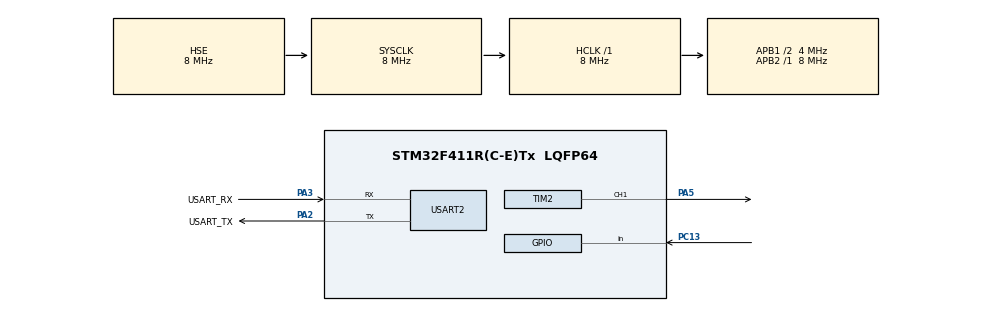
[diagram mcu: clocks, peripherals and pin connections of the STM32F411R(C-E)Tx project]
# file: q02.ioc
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Mcu.Family=STM32F4
Mcu.Name=STM32F411R(C-E)Tx
Mcu.Package=LQFP64
NVIC.PriorityGroup=NVIC_PRIORITYGROUP_0
NVIC.USART2_IRQn=true\:0\:0\:false\:false\:true\:true\:true\:true
PA13.GPIO_Label=TMS
PA13.Mode=Serial_Wire
PA13.Signal=SYS_JTMS-SWDIO
PA14.GPIO_Label=TCK
PA14.Mode=Serial_Wire
PA14.Signal=SYS_JTCK-SWCLK
PA2.GPIO_Label=USART_TX
PA2.Mode=Asynchronous
PA2.Signal=USART2_TX
PA3.GPIO_Label=USART_RX
PA3.Mode=Asynchronous
PA3.Signal=USART2_RX
PA5.Signal=S_TIM2_CH1_ETR
PB3.GPIO_Label=SWO
PB3.Signal=SYS_JTDO-SWO
PC13-ANTI_TAMP.Signal=GPIO_Input
PC14-OSC32_IN.Mode=LSE-External-Oscillator
PC14-OSC32_IN.Signal=RCC_OSC32_IN
PC15-OSC32_OUT.Mode=LSE-External-Oscillator
PC15-OSC32_OUT.Signal=RCC_OSC32_OUT
PH0\ -\ OSC_IN.Mode=HSE-External-Clock-Source
PH0\ -\ OSC_IN.Signal=RCC_OSC_IN
PH1\ -\ OSC_OUT.Mode=HSE-External-Clock-Source
PH1\ -\ OSC_OUT.Signal=RCC_OSC_OUT
ProjectManager.HeapSize=0x200
ProjectManager.StackSize=0x400
ProjectManager.TargetToolchain=STM32CubeIDE
RCC.48MHZClocksFreq_Value=42000000
RCC.AHBFreq_Value=8000000
RCC.APB1CLKDivider=RCC_HCLK_DIV2
RCC.APB1Freq_Value=4000000
RCC.APB1TimFreq_Value=8000000
RCC.APB2Freq_Value=8000000
RCC.APB2TimFreq_Value=8000000
RCC.CortexFreq_Value=8000000
RCC.FLatency-AdvancedSettings=FLASH_LATENCY_0
RCC.HCLKFreq_Value=8000000
RCC.HSE_VALUE=8000000
RCC.HSI_VALUE=16000000
RCC.PLLN=336
RCC.PLLP=RCC_PLLP_DIV4
RCC.PLLSourceVirtual=RCC_PLLSOURCE_HSE
RCC.SYSCLKFreq_VALUE=8000000
RCC.SYSCLKSource=RCC_SYSCLKSOURCE_HSE
RCC.VCOOutputFreq_Value=168000000
SH.S_TIM2_CH1_ETR.0=TIM2_CH1,PWM Generation1 CH1
TIM2.Channel-PWM\ Generation1\ CH1=TIM_CHANNEL_1
TIM2.Period=9
TIM2.Prescaler=7999
USART2.VirtualMode=VM_ASYNC
VP_TIM2_VS_ClockSourceINT.Mode=Internal
board=NUCLEO-F411RE

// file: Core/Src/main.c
/* USER CODE BEGIN Header */
/**
  ******************************************************************************
  * @file           : main.c
  * @brief          : Main program body
  ******************************************************************************
  * @attention
  *
  * Copyright (c) 2024 STMicroelectronics.
  * All rights reserved.
  *
  * This software is licensed under terms that can be found in the LICENSE file
  * in the root directory of this software component.
  * If no LICENSE file comes with this software, it is provided AS-IS.
  *
  ******************************************************************************
  */
/* USER CODE END Header */
#include "main.h"

/* USER CODE BEGIN Includes */
#include <stdbool.h>
#include <stdio.h>
#include <stdlib.h>
#include <string.h>
/* USER CODE END Includes */

TIM_HandleTypeDef htim2;

UART_HandleTypeDef huart2;

void SystemClock_Config(void);
static void MX_GPIO_Init(void);
static void MX_USART2_UART_Init(void);
static void MX_TIM2_Init(void);

/* USER CODE BEGIN 0 */
char buffer[10];

// Serial Feedback
void HAL_UART_RxCpltCallback(UART_HandleTypeDef *huart) {
	if (huart != &huart2) {
		return;
	}

	HAL_UART_Receive_IT(&huart2, buffer, 1);

	HAL_UART_Transmit(&huart2, buffer, 1, 100);
	if (buffer[0] == '\r') {
		HAL_UART_Transmit(&huart2, "\n", 1, 100);
	}
}
/* USER CODE END 0 */

int main(void)
{

  /* MCU Configuration--------------------------------------------------------*/

  /* Reset of all peripherals, Initializes the Flash interface and the Systick. */
  HAL_Init();

  /* Configure the system clock */
  SystemClock_Config();

  /* Initialize all configured peripherals */
  MX_GPIO_Init();
  MX_USART2_UART_Init();
  MX_TIM2_Init();
  /* USER CODE BEGIN 2 */
  HAL_TIM_PWM_Start(&htim2, TIM_CHANNEL_1);
  HAL_UART_Receive_IT(&huart2, buffer, 1);

  bool btnPressed = false;
  int btnHoldTick = 0;
  int currentLevel = 0;
  const int MAX_LEVEL = 10;
  char msgBuffer[32];
  /* USER CODE END 2 */

  /* Infinite loop */
  /* USER CODE BEGIN WHILE */
  while (1)
  {
	  GPIO_PinState state = HAL_GPIO_ReadPin(GPIOC, GPIO_PIN_13);

	  if (state == GPIO_PIN_RESET) {
		  if (btnPressed) {
			  if (HAL_GetTick() - btnHoldTick > 2000) {
				  HAL_UART_Transmit(&huart2, "Adios\r\n", 7, 100);

				  while (true) {
					  // No more button
				  }
			  }

			  HAL_Delay(10);
			  continue;
		  }

		  btnPressed = true;
		  btnHoldTick = HAL_GetTick();

		  // Button Action Start
		  currentLevel = (currentLevel + 1) % (MAX_LEVEL + 1);

		  sprintf(msgBuffer, "%d\r\n", currentLevel);
		  HAL_UART_Transmit(&huart2, msgBuffer, strlen(msgBuffer), 100);
		  TIM2->CCR1 = currentLevel;

		  // Button Action End
		  HAL_Delay(100);
	  } else {
		  btnPressed = false;
	  }
    /* USER CODE END WHILE */

  }
}

void SystemClock_Config(void)
{
  RCC_OscInitTypeDef RCC_OscInitStruct = {0};
  RCC_ClkInitTypeDef RCC_ClkInitStruct = {0};

  /** Configure the main internal regulator output voltage
  */
  __HAL_RCC_PWR_CLK_ENABLE();
  __HAL_PWR_VOLTAGESCALING_CONFIG(PWR_REGULATOR_VOLTAGE_SCALE1);

  /** Initializes the RCC Oscillators according to the specified parameters
  * in the RCC_OscInitTypeDef structure.
  */
  RCC_OscInitStruct.OscillatorType = RCC_OSCILLATORTYPE_HSE;
  RCC_OscInitStruct.HSEState = RCC_HSE_BYPASS;
  RCC_OscInitStruct.PLL.PLLState = RCC_PLL_NONE;
  if (HAL_RCC_OscConfig(&RCC_OscInitStruct) != HAL_OK)
  {
    Error_Handler();
  }

  /** Initializes the CPU, AHB and APB buses clocks
  */
  RCC_ClkInitStruct.ClockType = RCC_CLOCKTYPE_HCLK|RCC_CLOCKTYPE_SYSCLK
                              |RCC_CLOCKTYPE_PCLK1|RCC_CLOCKTYPE_PCLK2;
  RCC_ClkInitStruct.SYSCLKSource = RCC_SYSCLKSOURCE_HSE;
  RCC_ClkInitStruct.AHBCLKDivider = RCC_SYSCLK_DIV1;
  RCC_ClkInitStruct.APB1CLKDivider = RCC_HCLK_DIV2;
  RCC_ClkInitStruct.APB2CLKDivider = RCC_HCLK_DIV1;

  if (HAL_RCC_ClockConfig(&RCC_ClkInitStruct, FLASH_LATENCY_0) != HAL_OK)
  {
    Error_Handler();
  }
}

static void MX_TIM2_Init(void)
{

  TIM_ClockConfigTypeDef sClockSourceConfig = {0};
  TIM_MasterConfigTypeDef sMasterConfig = {0};
  TIM_OC_InitTypeDef sConfigOC = {0};

  htim2.Instance = TIM2;
  htim2.Init.Prescaler = 7999;
  htim2.Init.CounterMode = TIM_COUNTERMODE_UP;
  htim2.Init.Period = 9;
  htim2.Init.ClockDivision = TIM_CLOCKDIVISION_DIV1;
  htim2.Init.AutoReloadPreload = TIM_AUTORELOAD_PRELOAD_DISABLE;
  if (HAL_TIM_Base_Init(&htim2) != HAL_OK)
  {
    Error_Handler();
  }
  sClockSourceConfig.ClockSource = TIM_CLOCKSOURCE_INTERNAL;
  if (HAL_TIM_ConfigClockSource(&htim2, &sClockSourceConfig) != HAL_OK)
  {
    Error_Handler();
  }
  if (HAL_TIM_PWM_Init(&htim2) != HAL_OK)
  {
    Error_Handler();
  }
  sMasterConfig.MasterOutputTrigger = TIM_TRGO_RESET;
  sMasterConfig.MasterSlaveMode = TIM_MASTERSLAVEMODE_DISABLE;
  if (HAL_TIMEx_MasterConfigSynchronization(&htim2, &sMasterConfig) != HAL_OK)
  {
    Error_Handler();
  }
  sConfigOC.OCMode = TIM_OCMODE_PWM1;
  sConfigOC.Pulse = 0;
  sConfigOC.OCPolarity = TIM_OCPOLARITY_HIGH;
  sConfigOC.OCFastMode = TIM_OCFAST_DISABLE;
  if (HAL_TIM_PWM_ConfigChannel(&htim2, &sConfigOC, TIM_CHANNEL_1) != HAL_OK)
  {
    Error_Handler();
  }
  HAL_TIM_MspPostInit(&htim2);

}

static void MX_USART2_UART_Init(void)
{

  huart2.Instance = USART2;
  huart2.Init.BaudRate = 115200;
  huart2.Init.WordLength = UART_WORDLENGTH_8B;
  huart2.Init.StopBits = UART_STOPBITS_1;
  huart2.Init.Parity = UART_PARITY_NONE;
  huart2.Init.Mode = UART_MODE_TX_RX;
  huart2.Init.HwFlowCtl = UART_HWCONTROL_NONE;
  huart2.Init.OverSampling = UART_OVERSAMPLING_16;
  if (HAL_UART_Init(&huart2) != HAL_OK)
  {
    Error_Handler();
  }

}

static void MX_GPIO_Init(void)
{
  GPIO_InitTypeDef GPIO_InitStruct = {0};

  /* GPIO Ports Clock Enable */
  __HAL_RCC_GPIOC_CLK_ENABLE();
  __HAL_RCC_GPIOH_CLK_ENABLE();
  __HAL_RCC_GPIOA_CLK_ENABLE();
  __HAL_RCC_GPIOB_CLK_ENABLE();

  /*Configure GPIO pin : PC13 */
  GPIO_InitStruct.Pin = GPIO_PIN_13;
  GPIO_InitStruct.Mode = GPIO_MODE_INPUT;
  GPIO_InitStruct.Pull = GPIO_NOPULL;
  HAL_GPIO_Init(GPIOC, &GPIO_InitStruct);

}

void Error_Handler(void)
{
  __disable_irq();
  while (1)
  {
  }
}
